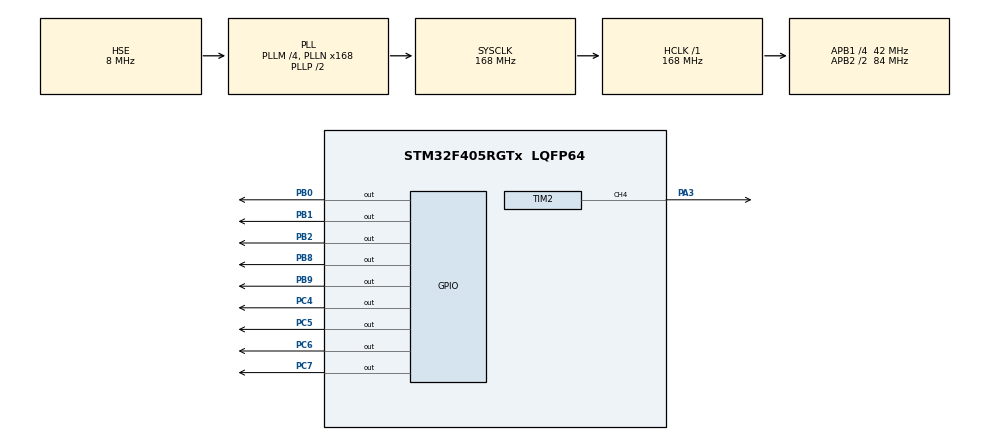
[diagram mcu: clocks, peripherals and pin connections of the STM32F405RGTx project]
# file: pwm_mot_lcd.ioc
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Mcu.Family=STM32F4
Mcu.Name=STM32F405RGTx
Mcu.Package=LQFP64
NVIC.PriorityGroup=NVIC_PRIORITYGROUP_4
PA13.Mode=Serial_Wire
PA13.Signal=SYS_JTMS-SWDIO
PA14.Mode=Serial_Wire
PA14.Signal=SYS_JTCK-SWCLK
PA3.Signal=S_TIM2_CH4
PB0.Signal=GPIO_Output
PB1.Signal=GPIO_Output
PB2.Signal=GPIO_Output
PB8.Signal=GPIO_Output
PB9.Signal=GPIO_Output
PC4.Signal=GPIO_Output
PC5.Signal=GPIO_Output
PC6.Signal=GPIO_Output
PC7.Signal=GPIO_Output
PH0-OSC_IN.Mode=HSE-External-Oscillator
PH0-OSC_IN.Signal=RCC_OSC_IN
PH1-OSC_OUT.Mode=HSE-External-Oscillator
PH1-OSC_OUT.Signal=RCC_OSC_OUT
ProjectManager.HeapSize=0x200
ProjectManager.StackSize=0x400
ProjectManager.TargetToolchain=EWARM V8.32
RCC.48MHZClocksFreq_Value=84000000
RCC.AHBFreq_Value=168000000
RCC.APB1CLKDivider=RCC_HCLK_DIV4
RCC.APB1Freq_Value=42000000
RCC.APB1TimFreq_Value=84000000
RCC.APB2CLKDivider=RCC_HCLK_DIV2
RCC.APB2Freq_Value=84000000
RCC.APB2TimFreq_Value=168000000
RCC.CortexFreq_Value=168000000
RCC.HCLKFreq_Value=168000000
RCC.HSE_VALUE=8000000
RCC.HSI_VALUE=16000000
RCC.LSE_VALUE=32768
RCC.PLLM=4
RCC.PLLN=168
RCC.PLLSourceVirtual=RCC_PLLSOURCE_HSE
RCC.SYSCLKFreq_VALUE=168000000
RCC.SYSCLKSource=RCC_SYSCLKSOURCE_PLLCLK
RCC.VCOOutputFreq_Value=336000000
SH.S_TIM2_CH4.0=TIM2_CH4,PWM Generation4 CH4
TIM2.Channel-PWM\ Generation4\ CH4=TIM_CHANNEL_4
VP_TIM2_VS_ClockSourceINT.Mode=Internal
board=custom

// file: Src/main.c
/* USER CODE BEGIN Header */
/**
  ******************************************************************************
  * @file           : main.c
  * @brief          : Main program body
  ******************************************************************************
  * @attention
  *
  * <h2><center>&copy; Copyright (c) 2020 STMicroelectronics.
  * All rights reserved.</center></h2>
  *
  * This software component is licensed by ST under BSD 3-Clause license,
  * the "License"; You may not use this file except in compliance with the
  * License. You may obtain a copy of the License at:
  *                        opensource.org/licenses/BSD-3-Clause
  *
  ******************************************************************************
  */
/* USER CODE END Header */

#include "main.h"
#include "tim.h"
#include "gpio.h"

/* USER CODE BEGIN Includes */
#include "lcd.h"
#include "stdio.h"
/* USER CODE END Includes */

/* USER CODE BEGIN PV */
char str[10];
/* USER CODE END PV */

void SystemClock_Config(void);

int main(void)
{
  /* USER CODE BEGIN 1 */
  unsigned int pwmduty = 0, cnt_dir = 0;

  /* USER CODE END 1 */

  /* MCU Configuration--------------------------------------------------------*/

  /* Reset of all peripherals, Initializes the Flash interface and the Systick. */
  HAL_Init();

  /* Configure the system clock */
  SystemClock_Config();

  /* Initialize all configured peripherals */
  MX_GPIO_Init();
  MX_TIM2_Init();
  /* USER CODE BEGIN 2 */
  HAL_TIM_PWM_Start(&htim2, TIM_CHANNEL_4);
  /* USER CODE END 2 */

  /* Infinite loop */
  /* USER CODE BEGIN WHILE */
  HAL_GPIO_WritePin(GPIOB, GPIO_PIN_8, GPIO_PIN_SET);
  HAL_GPIO_WritePin(GPIOB, GPIO_PIN_9, GPIO_PIN_RESET);

  lcdInit();
  lcdGotoXY(0,0);
  lcdPrintData("Duty: ",6);
  while (1)
  {
    if(cnt_dir)
    {
      pwmduty--;
      if(pwmduty == 0) cnt_dir = 0;
    }
    else
    {
      pwmduty++;
      if(pwmduty == 99) cnt_dir = 1;
    }

    TIM2->CCR4 = pwmduty;
    lcdGotoXY(7,0);
    sprintf(str, "%d", pwmduty);
    lcdPrint(str);
    HAL_Delay(100);
    /* USER CODE END WHILE */

  }
}

void SystemClock_Config(void)
{
  RCC_OscInitTypeDef RCC_OscInitStruct = {0};
  RCC_ClkInitTypeDef RCC_ClkInitStruct = {0};

  /** Configure the main internal regulator output voltage
  */
  __HAL_RCC_PWR_CLK_ENABLE();
  __HAL_PWR_VOLTAGESCALING_CONFIG(PWR_REGULATOR_VOLTAGE_SCALE1);
  /** Initializes the CPU, AHB and APB busses clocks
  */
  RCC_OscInitStruct.OscillatorType = RCC_OSCILLATORTYPE_HSE;
  RCC_OscInitStruct.HSEState = RCC_HSE_ON;
  RCC_OscInitStruct.PLL.PLLState = RCC_PLL_ON;
  RCC_OscInitStruct.PLL.PLLSource = RCC_PLLSOURCE_HSE;
  RCC_OscInitStruct.PLL.PLLM = 4;
  RCC_OscInitStruct.PLL.PLLN = 168;
  RCC_OscInitStruct.PLL.PLLP = RCC_PLLP_DIV2;
  RCC_OscInitStruct.PLL.PLLQ = 4;
  if (HAL_RCC_OscConfig(&RCC_OscInitStruct) != HAL_OK)
  {
    Error_Handler();
  }
  /** Initializes the CPU, AHB and APB busses clocks
  */
  RCC_ClkInitStruct.ClockType = RCC_CLOCKTYPE_HCLK|RCC_CLOCKTYPE_SYSCLK
                              |RCC_CLOCKTYPE_PCLK1|RCC_CLOCKTYPE_PCLK2;
  RCC_ClkInitStruct.SYSCLKSource = RCC_SYSCLKSOURCE_PLLCLK;
  RCC_ClkInitStruct.AHBCLKDivider = RCC_SYSCLK_DIV1;
  RCC_ClkInitStruct.APB1CLKDivider = RCC_HCLK_DIV4;
  RCC_ClkInitStruct.APB2CLKDivider = RCC_HCLK_DIV2;

  if (HAL_RCC_ClockConfig(&RCC_ClkInitStruct, FLASH_LATENCY_5) != HAL_OK)
  {
    Error_Handler();
  }
}

void Error_Handler(void)
{
}

/************************ (C) COPYRIGHT STMicroelectronics *****END OF FILE****/
